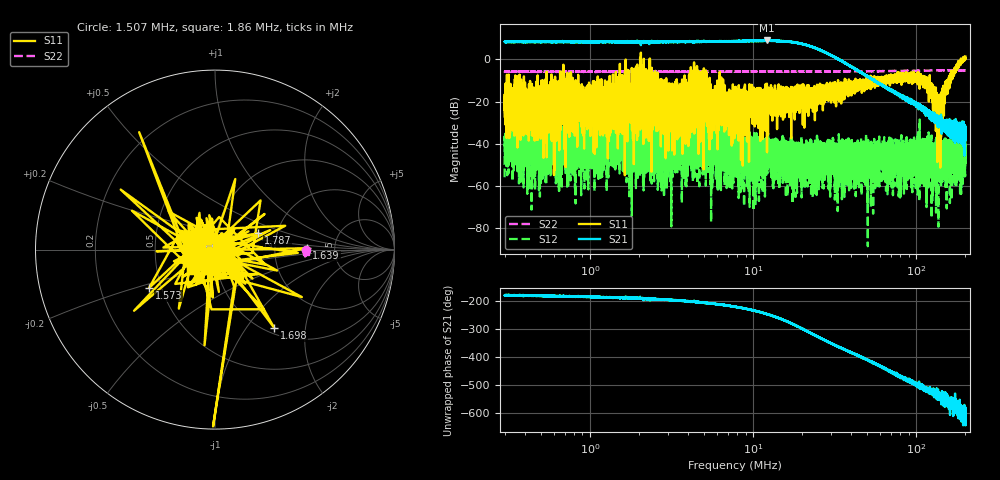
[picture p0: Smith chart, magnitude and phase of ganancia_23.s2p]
# Hz S DB R 50
! CMT, M5065, 19127446, 24.2.4/2
! Date: 11/1/2024 4:28:25 PM
! Data: Format (Calibration Info)
! Freq	S11:dB/Ang(F2)	S21:dB/Ang(F2)	S12:dB/Ang(F2)	S22:dB/Ang(F2)
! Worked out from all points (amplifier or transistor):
!   9000 points, 300 kHz to 200 MHz, reference 50 ohm
!   highest |S21| = 8.9 dB at 12.15 MHz (marker M1)
!   |S21| within 3 dB of that: start of sweep to 22.82 MHz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
!   unconditionally stable (mu >= 1): start of sweep to 1.655 MHz; 2.333 MHz to 187.7 MHz; 187.9 MHz to 190.6 MHz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
!   at 886.8 kHz: K = 46.24, MAG = 9.4 dB, |S12| = -50.0 dB
!   at 7.749 MHz: K = 25.38, MAG = 10.1 dB, |S12| = -45.6 dB
!   at 200 MHz: K = -473.27, MSG = 3.9 dB, |S12| = -39.8 dB
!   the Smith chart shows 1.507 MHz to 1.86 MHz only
!   S11 on the Smith chart (normalised r, x): 1.507 MHz: 1.00, -0.09; 1.573 MHz: 0.43, -0.22; 1.639 MHz: 3.09, +0.06; 1.698 MHz: 1.10, -1.36; 1.787 MHz: 1.60, +0.31; 1.86 MHz: 1.26, -0.38
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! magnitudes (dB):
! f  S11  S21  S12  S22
! 300 kHz  -19.9  8.3  -55.8  -5.9
! 310.4 kHz  -17.3  8.2  -36.8  -5.9
! 323.9 kHz  -34.9  8.2  -37.4  -6.0
! 511.3 kHz  -24.1  8.2  -34.6  -5.9
! 583.2 kHz  -31.4  8.2  -33.0  -5.9
! 886.8 kHz  -30.8  8.1  -50.0  -5.9
! 1.507 MHz  -27.3  8.2  -35.1  -5.9
! 1.573 MHz  -7.4  8.5  -37.2  -5.8
! 1.639 MHz  -5.8  7.7  -37.5  -5.8
! 1.698 MHz  -5.3  8.1  -40.3  -5.8
! 1.787 MHz  -11.7  8.0  -34.8  -5.8
! 1.86 MHz  -13.9  8.1  -35.9  -5.9
! 2.621 MHz  -10.6  8.4  -41.2  -5.8
! 7.749 MHz  -15.7  8.6  -45.6  -5.8
! 12.15 MHz  -11.6  8.9  -40.2  -5.9
! 22.91 MHz  -15.2  6.0  -41.2  -5.9
! 67.71 MHz  -8.8  -14.1  -40.5  -5.5
! 108.3 MHz  -9.5  -23.7  -45.4  -5.4
! 123.5 MHz  -13.1  -27.0  -41.9  -5.3
! 139 MHz  -20.8  -31.7  -57.9  -5.2
! 161 MHz  -7.8  -34.4  -42.9  -5.2
! 200 MHz  1.3  -32.0  -39.8  -5.3
